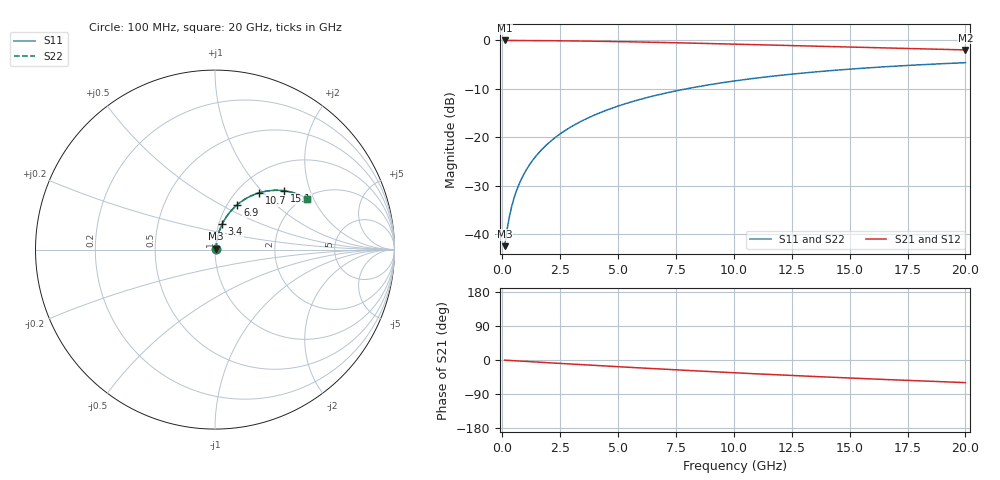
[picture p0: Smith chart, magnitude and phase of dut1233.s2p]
! Touchstone file exported from HFSS 2026.1.0
!  File:  C:/ffzhzh/LocalFiles/Ansys_Project_Files/temp_train_BSMRDL_1233_1783176995_22436.aedt
!  Generated:  10:58:07 PM Jul  4, 2026
!  Design:  BSMRDL
!  Project:  temp_train_BSMRDL_1233_1783176995_22436
! Variables:
!  h_bsmrdl = 3.92um
!  h_ox = 20um
!  h_rdl = 5um
!  h_sub = 80um
!  h_tmrdl = 5um
!  h_tsv = 80um
!  h_via = 3um
!  l_bsmrdl = 889.28um
!  l_sub = 1289.28um
!  l_tmrdl = 200um
!  m_sub = 200um
!  pitch = 47.61um
!  r_tsv = 6um
!  s_tmrdl = 10um
!  w_bsmrdl = 13.38um
!  w_sub = 500um
!  w_tmrdl = 12um
!  x_tsv_center1 = 206um
!  x_tsv_center2 = 1108.66um
!  x_tsv_center3 = 1320.66um
!  x_tsv_center4 = 2223.32um
!  x_tsv_center5 = 2435.32um
!  x_tsv_center6 = 3337.98um
# GHz S MA R 50.000000
! Terminal data exported
! Port[1] = BSM_RDL1_1_T1
! Port[2] = BSM_RDL1_1_T2
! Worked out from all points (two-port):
!   200 points, 100 MHz to 20 GHz, reference 50 ohm
!   highest |S21| = -0.05 dB at 100 MHz (marker M1); lowest = -2.0 dB at 20 GHz (marker M2)
!   |S21| within 3 dB of the highest: start of sweep to end of sweep
!   lowest |S11| = -42.4 dB at 100 MHz (marker M3), VSWR 1.02, Z = 50.6 + j0.46 ohm
!   |S11| at or under -10 dB: start of sweep to 7.969 GHz
!   |S22| runs from -42.4 to -4.6 dB; largest |S21 - S12| = 3.1e-15
!   S11 on the Smith chart (normalised r, x): 100 MHz: 1.01, +0.01; 3.4 GHz: 1.04, +0.30; 6.9 GHz: 1.11, +0.60; 10.7 GHz: 1.25, +0.94; 15.1 GHz: 1.53, +1.35; 20 GHz: 2.07, +1.79
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0.1  0.007554 36.9  0.994 -0.4  0.994 -0.4  0.007554 36.9
! Gamma 0 0 0 0
! Port Impedance 50 0 50 0
0.2  0.01098 55.4  0.9938 -0.7  0.9938 -0.7  0.01098 55.4
0.3  0.01496 64.1  0.9936 -1.1  0.9936 -1.1  0.01496 64.1
0.4  0.01911 68.9  0.9934 -1.5  0.9934 -1.5  0.01911 68.9
0.5  0.02332 71.9  0.9932 -1.8  0.9932 -1.8  0.02332 71.9
0.6  0.02755 73.8  0.993 -2.2  0.993 -2.2  0.02755 73.8
0.8  0.03605 76.1  0.9925 -2.9  0.9925 -2.9  0.03605 76.1
1.1  0.04886 77.7  0.9918 -4.0  0.9918 -4.0  0.04886 77.7
1.5  0.06596 78.2  0.9906 -5.4  0.9906 -5.4  0.06596 78.2
2  0.08728 77.8  0.9886 -7.2  0.9886 -7.2  0.08728 77.8
2.6  0.1126 76.5  0.9856 -9.4  0.9856 -9.4  0.1126 76.6
3.4  0.1458 74.4  0.9807 -12.2  0.9807 -12.2  0.1458 74.4
3.5  0.1499 74.1  0.98 -12.5  0.98 -12.5  0.1499 74.1
5  0.2096 69.5  0.9677 -17.7  0.9677 -17.7  0.2096 69.5
6.8  0.2762 63.9  0.9493 -23.7  0.9493 -23.7  0.2762 63.9
6.9  0.2797 63.6  0.9482 -24.0  0.9482 -24.0  0.2797 63.6
10.1  0.3825 53.9  0.9099 -33.9  0.9099 -33.9  0.3826 54.0
10.7  0.3997 52.2  0.9023 -35.7  0.9023 -35.7  0.3997 52.3
13.4  0.4685 44.8  0.8682 -43.3  0.8682 -43.3  0.4685 44.9
15.1  0.5053 40.4  0.8474 -47.8  0.8474 -47.8  0.5053 40.5
16.7  0.5357 36.5  0.8288 -51.8  0.8288 -51.8  0.5357 36.5
20  0.5866 28.9  0.7943 -59.7  0.7943 -59.7  0.5866 28.9
